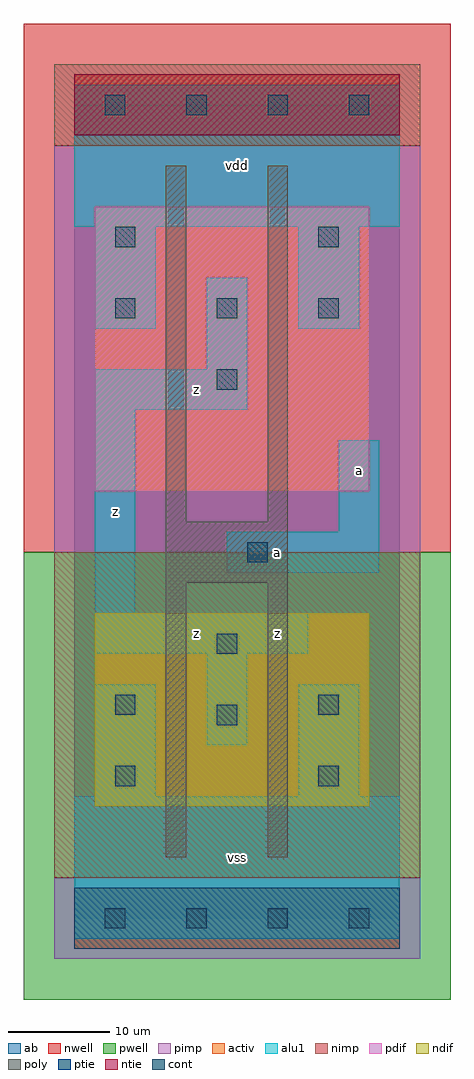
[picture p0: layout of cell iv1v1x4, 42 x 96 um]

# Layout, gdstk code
import gdstk
lib = gdstk.Library(unit=1e-6, precision=1e-09)
def R(c, l, rs):  # rectangles x0, y0, x1, y1
    for r in rs: c.add(gdstk.rectangle(r[:2], r[2:], *l))
def A(c, l, x, y, w, h, nx, ny, dx, dy):  # array of equal rectangles
    R(c, l, [(x+i*dx, y+j*dy, x+i*dx+w, y+j*dy+h) for i in range(nx) for j in range(ny)])
ndif = (3, 0)
pdif = (4, 0)
ntie = (5, 0)
ptie = (6, 0)
cont = (25, 0)
pwell = (41, 0)
nwell = (42, 0)
activ = (43, 0)
pimp = (44, 0)
nimp = (45, 0)
poly = (46, 0)
alu1 = (49, 0)
ab = (63, 0)

iv1v1x4 = lib.new_cell('iv1v1x4')
R(iv1v1x4, ndif, [(2,11,29,30)])
R(iv1v1x4, pdif, [(2,42,29,70)])
R(iv1v1x4, ntie, [(0,77,32,83)])
R(iv1v1x4, ptie, [(0,-3,32,3)])
A(iv1v1x4, cont, 3, -1, 2, 2, 4, 2, 8, 80)
A(iv1v1x4, cont, 4, 59, 2, 2, 3, 1, 10, 0)
R(iv1v1x4, cont, [(4,13,6,15), (24,13,26,15), (14,19,16,21), (4,20,6,22), (24,20,26,22), (14,26,16,28), (17,35,19,37), (14,52,16,54), (4,66,6,68), (24,66,26,68)])
R(iv1v1x4, pwell, [(-5,-8,37,36)])
R(iv1v1x4, nwell, [(-5,36,37,88)])
R(iv1v1x4, activ, [(0,-3,32,3), (2,11,29,30), (2,42,29,70), (0,77,32,83)])
R(iv1v1x4, pimp, [(-2,-4,34,4), (-2,36,34,76)])
R(iv1v1x4, nimp, [(-2,4,34,36), (-2,76,34,84)])
R(iv1v1x4, poly, [(9,6,11,33), (19,6,21,33), (9,33,21,39), (9,39,11,74), (19,39,21,74)])
R(iv1v1x4, alu1, [(0,-2,32,12), (2,12,8,23), (22,12,28,23), (13,17,17,26), (2,26,23,30), (2,30,6,50), (15,34,30,38), (26,38,30,47), (2,50,17,54), (13,54,17,63), (2,58,8,68), (22,58,28,68), (0,68,32,82)])
R(iv1v1x4, ab, [(0,0,32,80)])
iv1v1x4.add(gdstk.Label('z', (4,40), layer=49, texttype=0))
iv1v1x4.add(gdstk.Label('z', (12,28), layer=49, texttype=0))
iv1v1x4.add(gdstk.Label('z', (12,52), layer=49, texttype=0))
iv1v1x4.add(gdstk.Label('vss', (16,6), layer=49, texttype=0))
iv1v1x4.add(gdstk.Label('a', (20,36), layer=49, texttype=0))
iv1v1x4.add(gdstk.Label('z', (20,28), layer=49, texttype=0))
iv1v1x4.add(gdstk.Label('vdd', (16,74), layer=49, texttype=0))
iv1v1x4.add(gdstk.Label('a', (28,44), layer=49, texttype=0))

lib.write_gds('iv1v1x4.gds')
